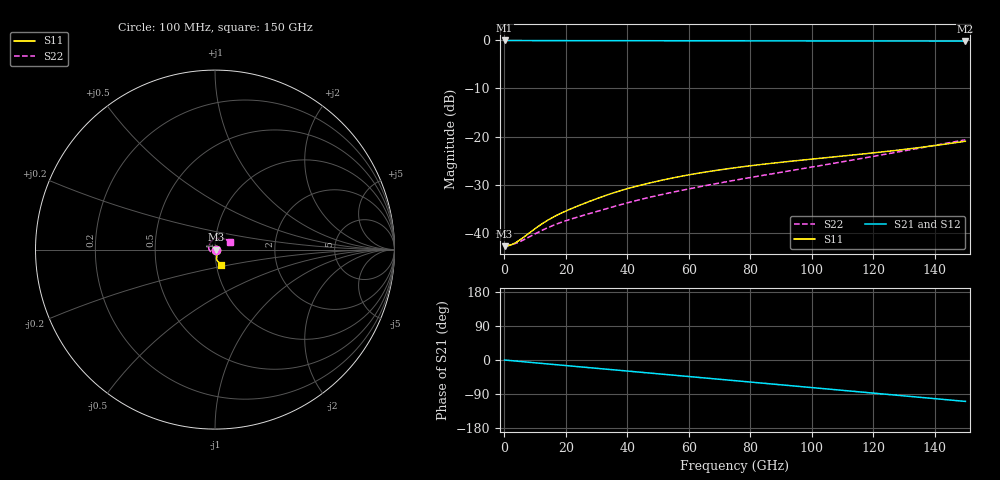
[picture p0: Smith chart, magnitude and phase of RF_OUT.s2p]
#  Hz  S  RI  R  50
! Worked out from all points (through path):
!   1500 points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, 100 MHz to 150 GHz, reference 50 ohm
!   highest |S21| = -0.06 dB at 100 MHz (marker M1); lowest = -0.2 dB at 150 GHz (marker M2)
!   group delay of S21, straight-line fit = 2.02 ps
!   lowest |S11| = -42.7 dB at 100 MHz (marker M3), VSWR 1.01, Z = 50.7 - j0.0013 ohm
!   |S11| at or under -10 dB: start of sweep to end of sweep
!   |S22| runs from -42.6 to -20.6 dB; largest |S21 - S12| = 0.0022
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1e8  0.00735 -1.29e-05  0.9927 -0.00131  0.9928 -0.00132  0.00744 -2.45e-05
1.9e9  0.00752 -0.000269  0.9922 -0.0249  0.9923 -0.025  0.00754 -0.000485
3.9e9  0.00804 -0.000705  0.9907 -0.051  0.9907 -0.0511  0.00782 -0.00112
6.2e9  0.00892 -0.00155  0.9879 -0.0805  0.9878 -0.0806  0.00825 -0.00212
1.16e10  0.011 -0.0051  0.978 -0.1479  0.9779 -0.1478  0.00875 -0.00573
1.58e10  0.0118 -0.00865  0.968 -0.199  0.968 -0.1989  0.00786 -0.0091
1.98e10  0.0119 -0.0119  0.9564 -0.2473  0.9565 -0.2473  0.00596 -0.012
2.51e10  0.0119 -0.0159  0.9373 -0.3107  0.9373 -0.3107  0.0025 -0.0149
3.16e10  0.0118 -0.0206  0.908 -0.3863  0.9081 -0.3862  -0.00246 -0.0172
3.72e10  0.0115 -0.0247  0.8781 -0.4492  0.8783 -0.4491  -0.00729 -0.0181
4.31e10  0.0109 -0.0287  0.842 -0.5131  0.8421 -0.5132  -0.0128 -0.0178
5.01e10  0.0103 -0.0332  0.7929 -0.5853  0.7931 -0.5853  -0.0193 -0.0154
6.15e10  0.00932 -0.04  0.7001 -0.6926  0.7004 -0.6928  -0.0285 -0.00747
7.51e10  0.0086 -0.0469  0.5705 -0.8016  0.5709 -0.8019  -0.0346 0.00781
8.78e10  0.00882 -0.0526  0.4343 -0.882  0.4347 -0.8825  -0.033 0.0254
1.001e11  0.0103 -0.0577  0.2915 -0.9379  0.292 -0.9387  -0.0232 0.0426
1.064e11  0.0116 -0.0603  0.2154 -0.9578  0.2158 -0.9588  -0.015 0.0503
1.127e11  0.0134 -0.0628  0.1378 -0.9716  0.1382 -0.9726  -0.00468 0.0567
1.251e11  0.0183 -0.0684  -0.017 -0.9801  -0.0168 -0.9816  0.0208 0.0634
1.371e11  0.0247 -0.0747  -0.1668 -0.965  -0.1666 -0.9665  0.0498 0.0603
1.433e11  0.0286 -0.0786  -0.2427 -0.9478  -0.2428 -0.95  0.0654 0.0543
1.5e11  0.0332 -0.0832  -0.3229 -0.9229  -0.3237 -0.9245  0.0818 0.044
